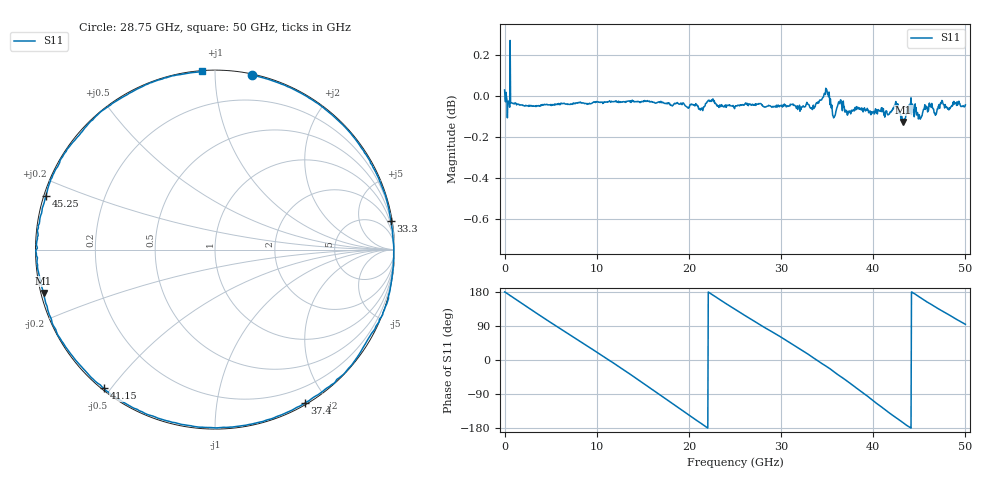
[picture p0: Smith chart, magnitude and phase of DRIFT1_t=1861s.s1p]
!Created with skrf (http://scikit-rf.org).
# Hz S RI R 50.0
!freq ReS11 ImS11
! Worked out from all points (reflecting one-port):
!   1001 points, 300 kHz to 50 GHz, reference 50 ohm
!   lowest |S11| = -0.1 dB at 43.25 GHz (marker M1), VSWR 137.10, Z = 0.37 - j6.22 ohm
!   phase of S11 starts at 179 deg and turns -805 deg over the sweep
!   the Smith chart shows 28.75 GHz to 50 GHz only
!   S11 on the Smith chart (normalised r, x): 28.75 GHz: 0.01, +1.23; 33.3 GHz: 1, +13; 37.4 GHz: 0.02, -1.74; 41.15 GHz: 0.01, -0.48; 45.25 GHz: 0.01, +0.16; 50 GHz: 0.00, +0.93
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300000  -1.003 0.00968
1.65029e9  -0.8867 0.4511
3.500279e9  -0.5399 0.8349
6.250262e9  0.1865 0.9781
7.850253e9  0.5817 0.8084
9.650242e9  0.8933 0.4414
1.250022e10  0.9413 -0.3282
1.400022e10  0.7219 -0.6881
1.58502e10  0.2654 -0.9607
1.73002e10  -0.1632 -0.9825
1.875019e10  -0.5624 -0.8224
2.035018e10  -0.8755 -0.4731
2.190017e10  -0.9948 -0.0492
2.500015e10  -0.6837 0.7213
2.690014e10  -0.2582 0.9613
2.875013e10  0.2036 0.9735
3.125011e10  0.748 0.6564
3.33001e10  0.9804 0.1572
3.515009e10  0.9361 -0.3506
3.740008e10  0.4997 -0.8559
3.750008e10  0.4699 -0.873
3.930006e10  -0.0696 -0.9895
4.115005e10  -0.6179 -0.7727
4.325004e10  -0.9555 -0.2415
4.375004e10  -0.989 -0.0967
4.525003e10  -0.9419 0.3007
4.755001e10  -0.6214 0.7785
5e10  -0.0718 0.9924
